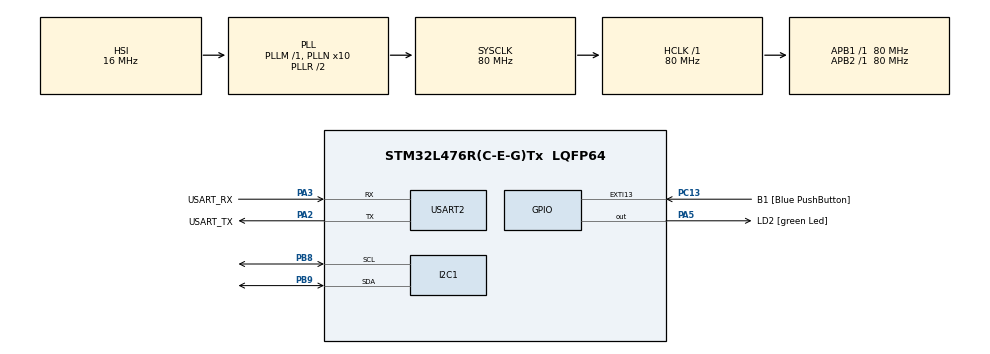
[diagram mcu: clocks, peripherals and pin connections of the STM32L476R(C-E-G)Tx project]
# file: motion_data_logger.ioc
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I2C1.Timing=0x10D19CE4
Mcu.Family=STM32L4
Mcu.Name=STM32L476R(C-E-G)Tx
Mcu.Package=LQFP64
NVIC.PriorityGroup=NVIC_PRIORITYGROUP_4
PA13\ (JTMS-SWDIO).GPIO_Label=TMS
PA13\ (JTMS-SWDIO).Mode=Serial_Wire
PA13\ (JTMS-SWDIO).Signal=SYS_JTMS-SWDIO
PA14\ (JTCK-SWCLK).GPIO_Label=TCK
PA14\ (JTCK-SWCLK).Mode=Serial_Wire
PA14\ (JTCK-SWCLK).Signal=SYS_JTCK-SWCLK
PA2.GPIO_Label=USART_TX
PA2.GPIO_Mode=GPIO_MODE_AF_PP
PA2.GPIO_PuPd=GPIO_NOPULL
PA2.GPIO_Speed=GPIO_SPEED_FREQ_VERY_HIGH
PA2.Mode=Asynchronous
PA2.Signal=USART2_TX
PA3.GPIO_Label=USART_RX
PA3.GPIO_Mode=GPIO_MODE_AF_PP
PA3.GPIO_PuPd=GPIO_NOPULL
PA3.GPIO_Speed=GPIO_SPEED_FREQ_VERY_HIGH
PA3.Mode=Asynchronous
PA3.Signal=USART2_RX
PA5.GPIO_Label=LD2 [green Led]
PA5.GPIO_ModeDefaultOutputPP=GPIO_MODE_OUTPUT_PP
PA5.GPIO_PuPd=GPIO_NOPULL
PA5.GPIO_Speed=GPIO_SPEED_FREQ_LOW
PA5.Signal=GPIO_Output
PB3\ (JTDO-TRACESWO).GPIO_Label=SWO
PB3\ (JTDO-TRACESWO).Signal=SYS_JTDO-SWO
PB8.Mode=I2C
PB8.Signal=I2C1_SCL
PB9.Mode=I2C
PB9.Signal=I2C1_SDA
PC13.GPIO_Label=B1 [Blue PushButton]
PC13.GPIO_ModeDefaultEXTI=GPIO_MODE_IT_FALLING
PC13.GPIO_PuPd=GPIO_NOPULL
PC13.Signal=GPXTI13
PC14-OSC32_IN\ (PC14).Mode=LSE-External-Oscillator
PC14-OSC32_IN\ (PC14).Signal=RCC_OSC32_IN
PC15-OSC32_OUT\ (PC15).Mode=LSE-External-Oscillator
PC15-OSC32_OUT\ (PC15).Signal=RCC_OSC32_OUT
PH0-OSC_IN\ (PH0).Signal=RCC_OSC_IN
PH1-OSC_OUT\ (PH1).Signal=RCC_OSC_OUT
ProjectManager.HeapSize=0x200
ProjectManager.StackSize=0x400
ProjectManager.TargetToolchain=STM32CubeIDE
RCC.ADCFreq_Value=64000000
RCC.AHBFreq_Value=80000000
RCC.APB1Freq_Value=80000000
RCC.APB1TimFreq_Value=80000000
RCC.APB2Freq_Value=80000000
RCC.APB2TimFreq_Value=80000000
RCC.CortexFreq_Value=80000000
RCC.HCLKFreq_Value=80000000
RCC.HSE_VALUE=8000000
RCC.HSI_VALUE=16000000
RCC.MSI_VALUE=4000000
RCC.PLLN=10
RCC.PLLSourceVirtual=RCC_PLLSOURCE_HSI
RCC.PREFETCH_ENABLE=1
RCC.SYSCLKFreq_VALUE=80000000
RCC.SYSCLKSource=RCC_SYSCLKSOURCE_PLLCLK
RCC.USBFreq_Value=64000000
RCC.VCOOutputFreq_Value=160000000
USART2.VirtualMode-Asynchronous=VM_ASYNC
board=NUCLEO-L476RG

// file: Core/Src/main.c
/* USER CODE BEGIN Header */
/**
  ******************************************************************************
  * @file           : main.c
  * @brief          : Main program body
  ******************************************************************************
  * @attention
  *
  * Copyright (c) 2024 STMicroelectronics.
  * All rights reserved.
  *
  * This software is licensed under terms that can be found in the LICENSE file
  * in the root directory of this software component.
  * If no LICENSE file comes with this software, it is provided AS-IS.
  *
  ******************************************************************************
  */
/* USER CODE END Header */
#include "main.h"

/* USER CODE BEGIN Includes */
#include "mpu.h"
#include "stdio.h"
#include "string.h"
/* USER CODE END Includes */

/* USER CODE BEGIN PD */
#define DATA_INPUT_USER 256 //buffer size
#define AXIS_NUMBER 3 //axis
/* USER CODE END PD */

I2C_HandleTypeDef hi2c1;

UART_HandleTypeDef huart2;

/* USER CODE BEGIN PV */
float mpu_buffer[DATA_INPUT_USER*AXIS_NUMBER]={0.0};
/* USER CODE END PV */

void SystemClock_Config(void);
static void MX_GPIO_Init(void);
static void MX_I2C1_Init(void);
static void MX_USART2_UART_Init(void);
/* USER CODE BEGIN PFP */
int __io_putchar(int);
void fill_mpu_buffer(void);   // function prototype to fill the buffer
void Log(void);
/* USER CODE END PFP */

int main(void)
{

  /* MCU Configuration--------------------------------------------------------*/

  /* Reset of all peripherals, Initializes the Flash interface and the Systick. */
  HAL_Init();

  /* Configure the system clock */
  SystemClock_Config();

  /* Initialize all configured peripherals */
  MX_GPIO_Init();
  MX_I2C1_Init();
  MX_USART2_UART_Init();
  /* USER CODE BEGIN 2 */
  MPU6050_Init();
  HAL_Delay(100);
  /* USER CODE END 2 */

  /* Infinite loop */
  /* USER CODE BEGIN WHILE */
  while (1)
  {
	  Log();
    /* USER CODE END WHILE */

  }
}

void SystemClock_Config(void)
{
  RCC_OscInitTypeDef RCC_OscInitStruct = {0};
  RCC_ClkInitTypeDef RCC_ClkInitStruct = {0};

  /** Configure the main internal regulator output voltage
  */
  if (HAL_PWREx_ControlVoltageScaling(PWR_REGULATOR_VOLTAGE_SCALE1) != HAL_OK)
  {
    Error_Handler();
  }

  /** Initializes the RCC Oscillators according to the specified parameters
  * in the RCC_OscInitTypeDef structure.
  */
  RCC_OscInitStruct.OscillatorType = RCC_OSCILLATORTYPE_HSI;
  RCC_OscInitStruct.HSIState = RCC_HSI_ON;
  RCC_OscInitStruct.HSICalibrationValue = RCC_HSICALIBRATION_DEFAULT;
  RCC_OscInitStruct.PLL.PLLState = RCC_PLL_ON;
  RCC_OscInitStruct.PLL.PLLSource = RCC_PLLSOURCE_HSI;
  RCC_OscInitStruct.PLL.PLLM = 1;
  RCC_OscInitStruct.PLL.PLLN = 10;
  RCC_OscInitStruct.PLL.PLLP = RCC_PLLP_DIV7;
  RCC_OscInitStruct.PLL.PLLQ = RCC_PLLQ_DIV2;
  RCC_OscInitStruct.PLL.PLLR = RCC_PLLR_DIV2;
  if (HAL_RCC_OscConfig(&RCC_OscInitStruct) != HAL_OK)
  {
    Error_Handler();
  }

  /** Initializes the CPU, AHB and APB buses clocks
  */
  RCC_ClkInitStruct.ClockType = RCC_CLOCKTYPE_HCLK|RCC_CLOCKTYPE_SYSCLK
                              |RCC_CLOCKTYPE_PCLK1|RCC_CLOCKTYPE_PCLK2;
  RCC_ClkInitStruct.SYSCLKSource = RCC_SYSCLKSOURCE_PLLCLK;
  RCC_ClkInitStruct.AHBCLKDivider = RCC_SYSCLK_DIV1;
  RCC_ClkInitStruct.APB1CLKDivider = RCC_HCLK_DIV1;
  RCC_ClkInitStruct.APB2CLKDivider = RCC_HCLK_DIV1;

  if (HAL_RCC_ClockConfig(&RCC_ClkInitStruct, FLASH_LATENCY_4) != HAL_OK)
  {
    Error_Handler();
  }
}

static void MX_I2C1_Init(void)
{

  hi2c1.Instance = I2C1;
  hi2c1.Init.Timing = 0x10D19CE4;
  hi2c1.Init.OwnAddress1 = 0;
  hi2c1.Init.AddressingMode = I2C_ADDRESSINGMODE_7BIT;
  hi2c1.Init.DualAddressMode = I2C_DUALADDRESS_DISABLE;
  hi2c1.Init.OwnAddress2 = 0;
  hi2c1.Init.OwnAddress2Masks = I2C_OA2_NOMASK;
  hi2c1.Init.GeneralCallMode = I2C_GENERALCALL_DISABLE;
  hi2c1.Init.NoStretchMode = I2C_NOSTRETCH_DISABLE;
  if (HAL_I2C_Init(&hi2c1) != HAL_OK)
  {
    Error_Handler();
  }

  /** Configure Analogue filter
  */
  if (HAL_I2CEx_ConfigAnalogFilter(&hi2c1, I2C_ANALOGFILTER_ENABLE) != HAL_OK)
  {
    Error_Handler();
  }

  /** Configure Digital filter
  */
  if (HAL_I2CEx_ConfigDigitalFilter(&hi2c1, 0) != HAL_OK)
  {
    Error_Handler();
  }

}

static void MX_USART2_UART_Init(void)
{

  huart2.Instance = USART2;
  huart2.Init.BaudRate = 115200;
  huart2.Init.WordLength = UART_WORDLENGTH_8B;
  huart2.Init.StopBits = UART_STOPBITS_1;
  huart2.Init.Parity = UART_PARITY_NONE;
  huart2.Init.Mode = UART_MODE_TX_RX;
  huart2.Init.HwFlowCtl = UART_HWCONTROL_NONE;
  huart2.Init.OverSampling = UART_OVERSAMPLING_16;
  huart2.Init.OneBitSampling = UART_ONE_BIT_SAMPLE_DISABLE;
  huart2.AdvancedInit.AdvFeatureInit = UART_ADVFEATURE_NO_INIT;
  if (HAL_UART_Init(&huart2) != HAL_OK)
  {
    Error_Handler();
  }

}

static void MX_GPIO_Init(void)
{
  GPIO_InitTypeDef GPIO_InitStruct = {0};

  /* GPIO Ports Clock Enable */
  __HAL_RCC_GPIOC_CLK_ENABLE();
  __HAL_RCC_GPIOH_CLK_ENABLE();
  __HAL_RCC_GPIOA_CLK_ENABLE();
  __HAL_RCC_GPIOB_CLK_ENABLE();

  /*Configure GPIO pin Output Level */
  HAL_GPIO_WritePin(LD2_GPIO_Port, LD2_Pin, GPIO_PIN_RESET);

  /*Configure GPIO pin : B1_Pin */
  GPIO_InitStruct.Pin = B1_Pin;
  GPIO_InitStruct.Mode = GPIO_MODE_IT_FALLING;
  GPIO_InitStruct.Pull = GPIO_NOPULL;
  HAL_GPIO_Init(B1_GPIO_Port, &GPIO_InitStruct);

  /*Configure GPIO pin : LD2_Pin */
  GPIO_InitStruct.Pin = LD2_Pin;
  GPIO_InitStruct.Mode = GPIO_MODE_OUTPUT_PP;
  GPIO_InitStruct.Pull = GPIO_NOPULL;
  GPIO_InitStruct.Speed = GPIO_SPEED_FREQ_LOW;
  HAL_GPIO_Init(LD2_GPIO_Port, &GPIO_InitStruct);

}

/* USER CODE BEGIN 4 */
int __io_putchar(int ch)
{
  HAL_UART_Transmit(&huart2, (uint8_t *)&ch, 1, HAL_MAX_DELAY);
  return ch;
}

void fill_mpu_buffer() {
    for (int i = 0; i < DATA_INPUT_USER; i++) {
      MPU6050_Read_Accel(accel_data);
      //MPU6050_Read_Gyro();
      mpu_buffer[AXIS_NUMBER * i] = Ax;	// for gyro replace Ax with Gx
      mpu_buffer[AXIS_NUMBER * i + 1] = Ay;	// for gyro replace Ay with Gy
      mpu_buffer[AXIS_NUMBER * i + 2] = Az;	// for gyro replace Az with Gz
  }
}

void Log() {
	fill_mpu_buffer();
	for (int i = 0; i < DATA_INPUT_USER; i++) {
	    	      printf("%.2f",mpu_buffer[AXIS_NUMBER * i]);
	    	      printf(" ");
	    	      printf("%.2f",mpu_buffer[AXIS_NUMBER * i + 1]);
	    	      printf(" ");
	              printf("%.2f",mpu_buffer[AXIS_NUMBER * i + 2]);
	              printf(" ");
	    	    }
	    	  printf("\r\n");
	    	  HAL_Delay(100);

}
/* USER CODE END 4 */

void Error_Handler(void)
{
  __disable_irq();
  while (1)
  {
  }
}
